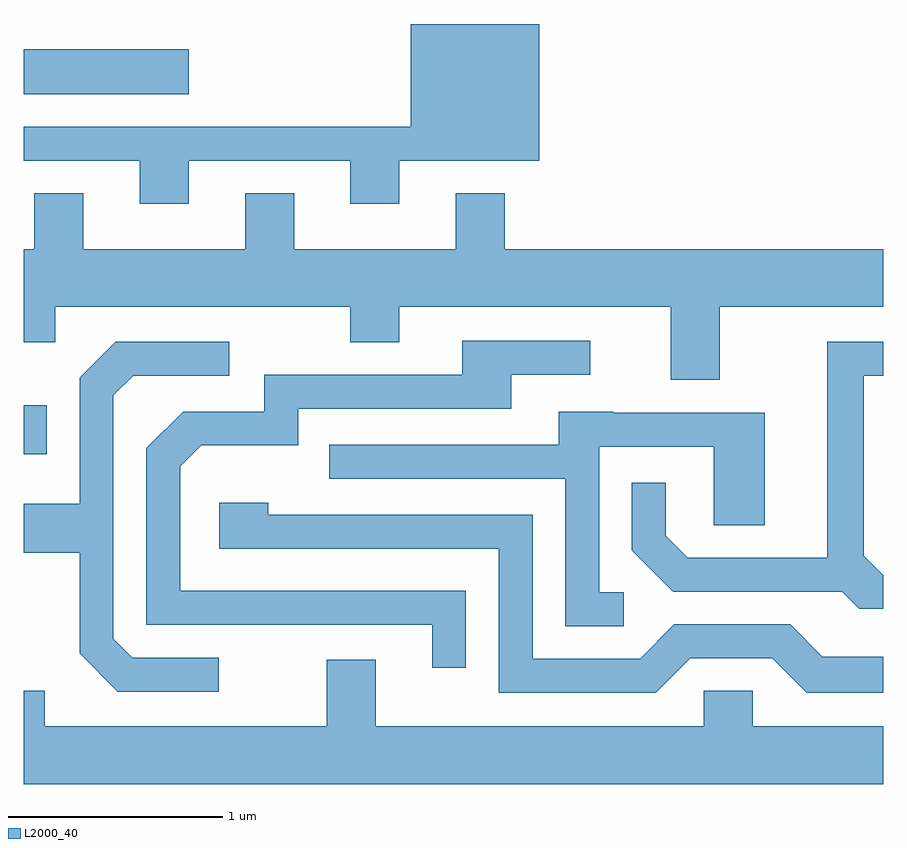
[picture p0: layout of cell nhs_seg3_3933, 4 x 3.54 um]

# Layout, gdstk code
import gdstk
lib = gdstk.Library(unit=1e-6, precision=1e-09)
def R(c, l, rs):  # rectangles x0, y0, x1, y1
    for r in rs: c.add(gdstk.rectangle(r[:2], r[2:], *l))
def P(c, l, *ps):  # polygons
    for p in ps: c.add(gdstk.Polygon(p, *l))
L2000_40 = (2000, 40)

nhs_seg3_3933 = lib.new_cell('nhs_seg3_3933')
R(nhs_seg3_3933, L2000_40, [(299.611,1231.891,299.719,1232.119), (299.611,1233.566,300.379,1233.774)])
P(nhs_seg3_3933, L2000_40, [(300.379,1233.256),(301.131,1233.256),(301.131,1233.056),(301.359,1233.056),(301.359,1233.256),(302.009,1233.256),(302.009,1233.892),(301.411,1233.892),(301.411,1233.414),(299.611,1233.414),(299.611,1233.256),(300.151,1233.256),(300.151,1233.056),(300.379,1233.056)],
  [(302.849,1232.576),(303.611,1232.576),(303.611,1232.844),(301.849,1232.844),(301.849,1233.104),(301.621,1233.104),(301.621,1232.844),(300.869,1232.844),(300.869,1233.104),(300.641,1233.104),(300.641,1232.844),(299.889,1232.844),(299.889,1233.104),(299.661,1233.104),(299.661,1232.844),(299.611,1232.844),(299.611,1232.411),(299.759,1232.411),(299.759,1232.576),(301.131,1232.576),(301.131,1232.411),(301.359,1232.411),(301.359,1232.576),(302.621,1232.576),(302.621,1232.236),(302.849,1232.236)],
  [(301.669,1231.254),(300.339,1231.254),(300.339,1231.834),(300.437,1231.931),(300.889,1231.931),(300.889,1232.101),(301.879,1232.101),(301.879,1232.261),(302.248,1232.261),(302.248,1232.419),(301.651,1232.419),(301.651,1232.259),(300.731,1232.259),(300.731,1232.089),(300.354,1232.089),(300.181,1231.917),(300.181,1231.096),(301.511,1231.096),(301.511,1230.898),(301.669,1230.898)],
  [(300.518,1230.944),(300.117,1230.944),(300.029,1231.032),(300.029,1232.164),(300.122,1232.256),(300.568,1232.256),(300.568,1232.414),(300.039,1232.414),(299.871,1232.247),(299.871,1231.659),(299.611,1231.659),(299.611,1231.431),(299.871,1231.431),(299.871,1230.964),(300.049,1230.786),(300.518,1230.786)],
  [(303.611,1231.329),(303.607,1231.329),(303.519,1231.417),(303.519,1232.256),(303.611,1232.256),(303.611,1232.414),(303.351,1232.414),(303.351,1231.409),(302.702,1231.409),(302.599,1231.512),(302.599,1231.758),(302.441,1231.758),(302.441,1231.444),(302.634,1231.251),(303.419,1231.251),(303.499,1231.171),(303.611,1231.171)],
  [(302.403,1231.249),(302.289,1231.249),(302.289,1231.926),(302.821,1231.926),(302.821,1231.561),(303.059,1231.561),(303.059,1232.084),(302.355,1232.084),(302.355,1232.089),(302.101,1232.089),(302.101,1231.934),(301.033,1231.934),(301.033,1231.776),(302.131,1231.776),(302.131,1231.091),(302.403,1231.091)],
  [(302.712,1230.941),(303.094,1230.941),(303.254,1230.781),(303.611,1230.781),(303.611,1230.949),(303.327,1230.949),(303.177,1231.099),(302.639,1231.099),(302.479,1230.939),(301.979,1230.939),(301.979,1231.609),(300.749,1231.609),(300.749,1231.664),(300.521,1231.664),(300.521,1231.451),(301.821,1231.451),(301.821,1230.781),(302.552,1230.781)],
  [(303.611,1230.624),(303.004,1230.624),(303.004,1230.789),(302.776,1230.789),(302.776,1230.624),(301.249,1230.624),(301.249,1230.934),(301.021,1230.934),(301.021,1230.624),(299.709,1230.624),(299.709,1230.789),(299.611,1230.789),(299.611,1230.356),(303.611,1230.356)])

lib.write_gds('nhs_seg3_3933.gds')
